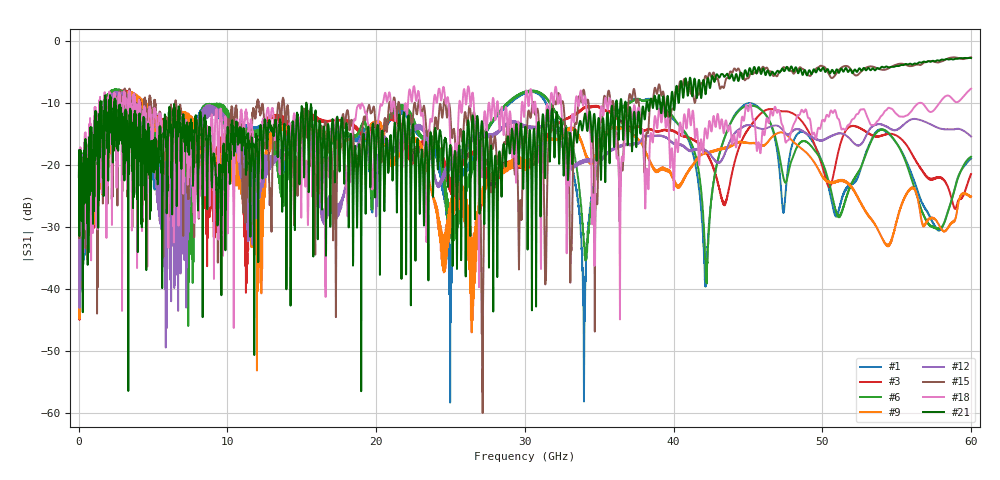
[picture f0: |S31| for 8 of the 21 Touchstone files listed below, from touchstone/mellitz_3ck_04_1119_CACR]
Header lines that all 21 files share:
# Hz S RI R 50
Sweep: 10 MHz to 60 GHz
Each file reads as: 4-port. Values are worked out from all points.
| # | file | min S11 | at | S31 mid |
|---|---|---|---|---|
| 1 | CA_19p75dB_fext1.s4p | -46.9 dB | 22.61 GHz | -8.2 dB at 30.01 GHz |
| 2 | CA_19p75dB_fext2.s4p | -42.7 dB | 7.75 GHz | -8.4 dB at 30.01 GHz |
| 3 | CA_19p75dB_fext3.s4p | -47.3 dB | 23.49 GHz | -20.1 dB at 30.01 GHz |
| 4 | CA_19p75dB_fext4.s4p | -57.8 dB | 23.25 GHz | -19.9 dB at 30.01 GHz |
| 5 | CA_19p75dB_fext5.s4p | -33.7 dB | 46.56 GHz | -20.0 dB at 30.01 GHz |
| 6 | CA_19p75dB_fext6.s4p | -53.6 dB | 22.7 GHz | -8.1 dB at 30.01 GHz |
| 7 | CA_19p75dB_fext7.s4p | -46.2 dB | 31.14 GHz | -8.2 dB at 30.01 GHz |
| 8 | CA_19p75dB_next1.s4p | -32.4 dB | 90 MHz | -13.7 dB at 30.01 GHz |
| 9 | CA_19p75dB_next2.s4p | -61.3 dB | 33.17 GHz | -19.2 dB at 30.01 GHz |
| 10 | CA_19p75dB_next4.s4p | -34.2 dB | 17.09 GHz | -14.4 dB at 30.01 GHz |
| 11 | CA_19p75dB_next5.s4p | -34.2 dB | 17.09 GHz | -14.3 dB at 30.01 GHz |
| 12 | CA_19p75dB_next8.s4p | -32.3 dB | 90 MHz | -13.6 dB at 30.01 GHz |
| 13 | Tp0_Tp5_28p5db_FQSFP_fext1.s4p | -49.2 dB | 12.91 GHz | -17.9 dB at 30.01 GHz |
| 14 | Tp0_Tp5_28p5db_FQSFP_fext2.s4p | -54.9 dB | 37.28 GHz | -18.4 dB at 30.01 GHz |
| 15 | Tp0_Tp5_28p5db_FQSFP_fext3.s4p | -54.6 dB | 17.09 GHz | -15.8 dB at 30.01 GHz |
| 16 | Tp0_Tp5_28p5db_FQSFP_fext4.s4p | -44.7 dB | 16.41 GHz | -10.6 dB at 30.01 GHz |
| 17 | Tp0_Tp5_28p5db_FQSFP_fext5.s4p | -43.5 dB | 18.23 GHz | -11.1 dB at 30.01 GHz |
| 18 | Tp0_Tp5_28p5db_FQSFP_fext6.s4p | -43.3 dB | 32.35 GHz | -10.0 dB at 30.01 GHz |
| 19 | Tp0_Tp5_28p5db_FQSFP_fext7.s4p | -52.5 dB | 7.96 GHz | -10.8 dB at 30.01 GHz |
| 20 | Tp0_Tp5_28p5db_FQSFP_next5.s4p | -47.8 dB | 25.06 GHz | -13.9 dB at 30.01 GHz |
| 21 | Tp0_Tp5_28p5db_FQSFP_next6.s4p | -46.2 dB | 5.66 GHz | -13.9 dB at 30.01 GHz |
